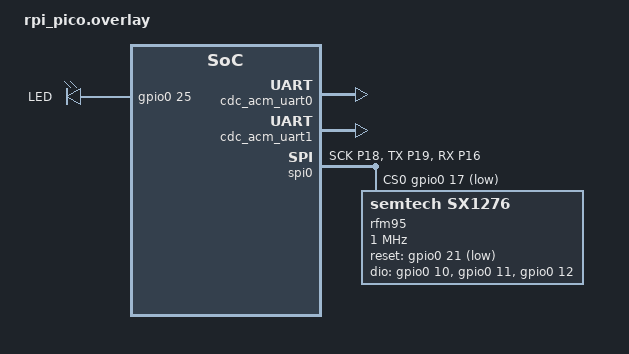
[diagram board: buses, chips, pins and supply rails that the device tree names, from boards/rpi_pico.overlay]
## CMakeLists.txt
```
# SPDX-License-Identifier: Apache-2.0

cmake_minimum_required(VERSION 3.13.1)
find_package(Zephyr REQUIRED HINTS $ENV{ZEPHYR_BASE})

project(catwan_usbstick LANGUAGES C)

set(CATSNIFFER_FW_VERSION "" CACHE STRING "Firmware version label (for releases)")
if(DEFINED ENV{CATSNIFFER_FW_VERSION} AND NOT "$ENV{CATSNIFFER_FW_VERSION}" STREQUAL "")
    set(CATSNIFFER_FW_VERSION "$ENV{CATSNIFFER_FW_VERSION}" CACHE STRING "Firmware version label (for releases)" FORCE)
endif()

find_package(Git QUIET)
set(CATSNIFFER_GIT_SHA "unknown")
set(CATSNIFFER_GIT_DIRTY "unknown")
if(GIT_FOUND)
    execute_process(
        COMMAND ${GIT_EXECUTABLE} -C ${CMAKE_SOURCE_DIR} rev-parse --short HEAD
        OUTPUT_VARIABLE CATSNIFFER_GIT_SHA
        OUTPUT_STRIP_TRAILING_WHITESPACE
        ERROR_QUIET
    )
    execute_process(
        COMMAND ${GIT_EXECUTABLE} -C ${CMAKE_SOURCE_DIR} status --porcelain --untracked-files=no
        OUTPUT_VARIABLE CATSNIFFER_GIT_STATUS
        OUTPUT_STRIP_TRAILING_WHITESPACE
        ERROR_QUIET
    )
    if(CATSNIFFER_GIT_STATUS STREQUAL "")
        set(CATSNIFFER_GIT_DIRTY "clean")
    else()
        set(CATSNIFFER_GIT_DIRTY "dirty")
    endif()
endif()

if(NOT CATSNIFFER_FW_VERSION)
    set(CATSNIFFER_FW_VERSION "dev-${CATSNIFFER_GIT_SHA}-${CATSNIFFER_GIT_DIRTY}")
endif()

string(TIMESTAMP CATSNIFFER_BUILD_TIME_UTC "%Y-%m-%dT%H:%M:%SZ" UTC)
set(CATSNIFFER_COMPILER_ID "${CMAKE_C_COMPILER_ID}")
set(CATSNIFFER_COMPILER_VERSION "${CMAKE_C_COMPILER_VERSION}")

configure_file(
    ${CMAKE_SOURCE_DIR}/include/fw_version.h.in
    ${CMAKE_BINARY_DIR}/generated/fw_version.h
    @ONLY
)

target_include_directories(app PRIVATE ${CMAKE_SOURCE_DIR}/include)
target_include_directories(app PRIVATE ${CMAKE_BINARY_DIR}/generated)

FILE(GLOB app_sources src/*.c)

# Add local usb init
target_sources_ifdef(CONFIG_USB_DEVICE_STACK_NEXT app PRIVATE
    src/USB/usbd_init.c
)

target_sources(app PRIVATE ${app_sources})
```

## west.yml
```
manifest:
  version: "1.2"

  remotes:
    - name: wero1414
      url-base: https://github.com/wero1414

  projects:
    - name: zephyr
      remote: wero1414
      revision: fsk-native-driver
      import: true

  self:
    path: RP2040/catsniffer
```

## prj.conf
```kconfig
# CatWAN USB Stick - Kconfig
# SPDX-License-Identifier: Apache-2.0

# Serial for USB CDC-ACM
CONFIG_SERIAL=y
CONFIG_UART_INTERRUPT_DRIVEN=y

# USB device stack
CONFIG_USB_DEVICE_STACK_NEXT=y
CONFIG_USBD_CDC_ACM_CLASS=y

# SPI and LoRa (RFM95 / SX1276)
CONFIG_SPI=y
CONFIG_GPIO=y
CONFIG_LORA=y
CONFIG_LORA_MODULE_BACKEND_LORAMAC_NODE=y
CONFIG_LORA_SX127X=y

# Persistent storage (for future saved settings)
CONFIG_FLASH=y
CONFIG_FLASH_MAP=y
CONFIG_NVS=y
CONFIG_SETTINGS=y
CONFIG_SETTINGS_NVS=y

# Unique serial number from chip ID
CONFIG_HWINFO=y

# Logging disabled for production
CONFIG_LOG=n
CONFIG_CONSOLE=n
CONFIG_UART_CONSOLE=n
CONFIG_PRINTK=n
CONFIG_USBD_LOG_LEVEL_WRN=n
CONFIG_UDC_DRIVER_LOG_LEVEL_WRN=n
CONFIG_USBD_CDC_ACM_LOG_LEVEL_ERR=n

# USB product strings
CONFIG_SAMPLE_USBD_PID=0xBABB
CONFIG_SAMPLE_USBD_PRODUCT="CatWAN USB Stick"
CONFIG_SAMPLE_USBD_MANUFACTURER="Electronic Cats"
```

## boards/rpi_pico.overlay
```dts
/*
 * CatWAN USB Stick - Device Tree Overlay
 * RP2040 + RFM95W (SX1276) single-radio LoRa USB stick
 *
 * Pin mapping (from schematic):
 *   SPI0: MISO=GPIO16, CS=GPIO17, SCK=GPIO18, MOSI=GPIO19
 *   Radio: RST=GPIO21, DIO0=GPIO10, DIO1=GPIO11, DIO2=GPIO12
 *   LED: GPIO25
 */

/ {
    chosen {
        zephyr,settings-partition = &storage_partition;
    };

    aliases {
        led0 = &led_0;
        lora0 = &rfm95;
    };

    leds {
        compatible = "gpio-leds";
        led_0: led0 {
            gpios = <&gpio0 25 GPIO_ACTIVE_HIGH>;
            label = "LED";
        };
    };
};

&flash0 {
    partitions {
        /delete-node/ partition@100;

        code_partition: partition@100 {
            label = "code-partition";
            reg = <0x100 0x1eff00>;
            read-only;
        };

        storage_partition: partition@1f0000 {
            label = "storage";
            reg = <0x1f0000 0x10000>;
        };
    };
};

&zephyr_udc0 {
    cdc_acm_uart0: cdc_acm_uart0 {
        compatible = "zephyr,cdc-acm-uart";
        label = "CatWAN-LoRa";
    };

    cdc_acm_uart1: cdc_acm_uart1 {
        compatible = "zephyr,cdc-acm-uart";
        label = "CatWAN-Shell";
    };
};

&spi0 {
    status = "okay";
    pinctrl-0 = <&spi0_default>;
    pinctrl-names = "default";
    cs-gpios = <&gpio0 17 GPIO_ACTIVE_LOW>;

    rfm95: sx1276@0 {
        compatible = "semtech,sx1276";
        reg = <0>;
        spi-max-frequency = <1000000>;
        reset-gpios = <&gpio0 21 GPIO_ACTIVE_LOW>;
        dio-gpios = <&gpio0 10 GPIO_ACTIVE_HIGH>,
                    <&gpio0 11 GPIO_ACTIVE_HIGH>,
                    <&gpio0 12 GPIO_ACTIVE_HIGH>;
        power-amplifier-output = "pa-boost";
    };
};

&pinctrl {
    spi0_default: spi0_default {
        group1 {
            pinmux = <SPI0_SCK_P18>, <SPI0_TX_P19>;
        };
        group2 {
            pinmux = <SPI0_RX_P16>;
            input-enable;
        };
    };
};
```

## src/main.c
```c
/*
 * CatWAN USB Stick Firmware
 * RP2040 + RFM95/SX1276 LoRa USB dongle
 * Eduardo Contreras @ Electronic Cats 2026
 */
#include "catwan.h"
#include "shell_commands.h"

LOG_MODULE_REGISTER(catwan_main, LOG_LEVEL_INF);

#define CDC0_NODE DT_NODELABEL(cdc_acm_uart0)
#define CDC1_NODE DT_NODELABEL(cdc_acm_uart1)

// Device definitions
#define CDC0_DEV DEVICE_DT_GET(CDC0_NODE) // LoRa data
#define CDC1_DEV DEVICE_DT_GET(CDC1_NODE) // Shell

// Communication buffers (4 ring buffers: LoRa<->USB, Shell<->USB)
uint8_t ring_lora_to_usb[RING_BUF_SIZE];
uint8_t ring_usb_to_lora[RING_BUF_SIZE];
uint8_t ring_config_to_usb[RING_BUF_SIZE];
uint8_t ring_usb_to_config[RING_BUF_SIZE];

struct ring_buf rb_lora_to_usb;
struct ring_buf rb_usb_to_lora;
struct ring_buf rb_config_to_usb;
struct ring_buf rb_usb_to_config;

// Device references
const struct device *cdc0_dev; // LoRa data port
const struct device *cdc1_dev; // Shell port

// Global state
catwan_t catwan = { 0 };

// GPIO for LED
static const struct gpio_dt_spec led0 = GPIO_DT_SPEC_GET(DT_ALIAS(led0), gpios);

// USB context
static struct usbd_context *catwan_usbd;

static const struct device *lora_dev;

// Thread definitions
#define LORA_THREAD_STACK_SIZE 4096
K_THREAD_STACK_DEFINE(lora_thread_stack, LORA_THREAD_STACK_SIZE);
static struct k_thread lora_thread;
K_SEM_DEFINE(lora_data_sem, 0, 1);
static bool lora_async_rx_active;

// --- Ring buffer helpers ---

static inline uint32_t safe_ring_buf_put(struct ring_buf *rb,
					 const uint8_t *data, uint32_t size)
{
	unsigned int key = irq_lock();
	uint32_t result = ring_buf_put(rb, data, size);
	irq_unlock(key);
	return result;
}

static inline uint32_t safe_ring_buf_get(struct ring_buf *rb, uint8_t *data,
					 uint32_t size)
{
	unsigned int key = irq_lock();
	uint32_t result = ring_buf_get(rb, data, size);
	irq_unlock(key);
	return result;
}

// --- LoRa RX callback ---

void lora_rx_cb(const struct device *dev, uint8_t *data, uint16_t size,
		int16_t rssi, int8_t snr, void *user_data)
{
	ARG_UNUSED(dev);
	ARG_UNUSED(user_data);

	if (catwan.lora_mode == LORA_MODE_STREAM) {
		// Stream mode: length-prefixed binary frame
		// [length:1][payload:N][RSSI+128:1][SNR+128:1]
		uint8_t header = (uint8_t)(size > 255 ? 255 : size);
		safe_ring_buf_put(&rb_lora_to_usb, &header, 1);
		safe_ring_buf_put(&rb_lora_to_usb, data, header);
		uint8_t rssi_byte = (uint8_t)(rssi + 128);
		uint8_t snr_byte = (uint8_t)(snr + 128);
		safe_ring_buf_put(&rb_lora_to_usb, &rssi_byte, 1);
		safe_ring_buf_put(&rb_lora_to_usb, &snr_byte, 1);
	} else {
		// Command mode: text format
		char rx_msg[384];
		char data_str[128] = { 0 };
		int display_len = (size > 40) ? 40 : size;

		for (int i = 0; i < display_len; i++) {
			char byte_str[4];
			snprintf(byte_str, sizeof(byte_str), "%02X", data[i]);
			strcat(data_str, byte_str);
		}
		if (size > 40)
			strcat(data_str, "...");

		snprintf(rx_msg, sizeof(rx_msg),
			 "RX: %s | RSSI: %d | SNR: %d\r\n", data_str, rssi, snr);
		safe_ring_buf_put(&rb_lora_to_usb, (uint8_t *)rx_msg,
				  strlen(rx_msg));
	}

	if (cdc0_dev)
		uart_irq_tx_enable(cdc0_dev);
}

// --- USB callbacks ---

static void catwan_usb_msg_cb(struct usbd_context *const ctx,
			      const struct usbd_msg *msg)
{
	if (usbd_can_detect_vbus(ctx)) {
		if (msg->type == USBD_MSG_VBUS_READY) {
			usbd_enable(ctx);
		} else if (msg->type == USBD_MSG_VBUS_REMOVED) {
			usbd_disable(ctx);
		}
	}
}

static int enable_usb_device_next(void)
{
	catwan_usbd = usbd_init_device(catwan_usb_msg_cb);
	if (catwan_usbd == NULL) {
		return -ENODEV;
	}
	if (!usbd_can_detect_vbus(catwan_usbd)) {
		return usbd_enable(catwan_usbd);
	}
	return 0;
}

// --- CDC0 (LoRa data) interrupt handler ---

static void cdc0_interrupt_handler(const struct device *dev, void *user_data)
{
	while (uart_irq_update(dev) && uart_irq_is_pending(dev)) {
		if (uart_irq_rx_ready(dev)) {
			uint8_t buf[64];
			int len = uart_fifo_read(dev, buf, sizeof(buf));
			if (len > 0) {
				safe_ring_buf_put(&rb_usb_to_lora, buf, len);
				k_sem_give(&lora_data_sem);
			}
		}

		if (uart_irq_tx_ready(dev)) {
			uint8_t buf[64];
			int len = safe_ring_buf_get(&rb_lora_to_usb, buf,
						    sizeof(buf));
			if (len > 0) {
				uart_fifo_fill(dev, buf, len);
			} else {
				uart_irq_tx_disable(dev);
			}
		}
	}
}

// --- CDC1 (Shell) interrupt handler ---

static void cdc1_interrupt_handler(const struct device *dev, void *user_data)
{
	while (uart_irq_update(dev) && uart_irq_is_pending(dev)) {
		if (uart_irq_rx_ready(dev)) {
			uint8_t buf[64];
			int len = uart_fifo_read(dev, buf, sizeof(buf));

			for (int i = 0; i < len; i++) {
				uint8_t data = buf[i];

				// Echo back
				safe_ring_buf_put(&rb_config_to_usb, &data, 1);
				uart_irq_tx_enable(dev);

				// Line buffering
				if (data == '\n' || data == '\r') {
					if (catwan.command_data_len > 0) {
						catwan.command_data
							[catwan.command_data_len] =
							'\0';
						process_command(
							catwan.command_data,
							catwan.command_data_len);
						catwan.command_data_len = 0;
					}
				} else if (catwan.command_data_len <
					   COMMAND_BUF_SIZE - 1) {
					catwan.command_data
						[catwan.command_data_len++] =
						data;
				}
			}
		}

		if (uart_irq_tx_ready(dev)) {
			uint8_t buf[64];
			int len = safe_ring_buf_get(&rb_config_to_usb, buf,
						    sizeof(buf));
			if (len > 0) {
				uart_fifo_fill(dev, buf, len);
			} else {
				uart_irq_tx_disable(dev);
			}
		}
	}
}

// --- Shell helpers (exposed to shell_commands.c) ---

void shell_reply(const char *msg)
{
	if (!msg)
		return;
	safe_ring_buf_put(&rb_config_to_usb, (uint8_t *)msg, strlen(msg));
	if (cdc1_dev)
		uart_irq_tx_enable(cdc1_dev);
}

int queue_radio_command(const char *cmd_line)
{
	uint8_t nl = '\n';
	size_t len;
	uint32_t written;

	if (!cmd_line)
		return -EINVAL;

	len = strlen(cmd_line);
	if (len == 0 || len >= COMMAND_BUF_SIZE)
		return -EINVAL;

	written = safe_ring_buf_put(&rb_usb_to_lora,
				    (const uint8_t *)cmd_line, len);
	if (written != len)
		return -ENOSPC;

	written = safe_ring_buf_put(&rb_usb_to_lora, &nl, 1);
	if (written != 1)
		return -ENOSPC;

	k_sem_give(&lora_data_sem);
	return 0;
}

void set_status_leds(int l0, int l1, int l2)
{
	ARG_UNUSED(l1);
	ARG_UNUSED(l2);
	gpio_pin_set_dt(&led0, l0);
}

// --- LoRa helpers ---

static const char *get_error_string(int error)
{
	switch (error) {
	case 0:
		return "Success";
	case -EAGAIN:
		return "EAGAIN - Resource temporarily unavailable";
	case -EBUSY:
		return "EBUSY - Device busy";
	case -EIO:
		return "EIO - I/O error";
	case -EINVAL:
		return "EINVAL - Invalid argument";
	case -ENODEV:
		return "ENODEV - Device not ready";
	case -ENOTSUP:
		return "ENOTSUP - Operation not supported";
	case -ETIMEDOUT:
		return "ETIMEDOUT - Timeout";
	default:
		return "Unknown error";
	}
}

static void lora_stop_rx(void)
{
	lora_recv_async(lora_dev, NULL, NULL);
	lora_async_rx_active = false;
	k_sleep(K_MSEC(5));
}

static int lora_set_tx_mode(void)
{
	struct lora_modem_config config = { 0 };
	config.frequency = catwan.lora_config.frequency;
	config.bandwidth = catwan.lora_config.bandwidth;
	config.datarate = catwan.lora_config.spreading_factor;
	config.preamble_len = catwan.lora_config.preamble_len;
	config.coding_rate = catwan.lora_config.coding_rate;
	config.tx_power = catwan.lora_config.tx_power;
	config.tx = true;
	config.iq_inverted = catwan.lora_config.iq_inverted;
	config.public_network = catwan.lora_config.public_network;
	return lora_config(lora_dev, &config);
}

static int lora_start_rx_async(void)
{
	if (lora_async_rx_active)
		return 0;

	int ret = lora_recv_async(lora_dev, lora_rx_cb, NULL);
	if (ret == 0) {
		lora_async_rx_active = true;
		return 0;
	}

	if (ret == -EBUSY) {
		lora_recv_async(lora_dev, NULL, NULL);
		k_sleep(K_MSEC(2));
		ret = lora_recv_async(lora_dev, lora_rx_cb, NULL);
		if (ret == 0) {
			lora_async_rx_active = true;
		}
	}
	return ret;
}

// --- LoRa init and config ---

int initialize_lora(void)
{
	const char *status_msg;

	if (catwan.lora_initialized) {
		shell_reply("LoRa: Already initialized\r\n");
		return 0;
	}

	shell_reply("LoRa: Starting initialization...\r\n");

	lora_dev = DEVICE_DT_GET(DT_ALIAS(lora0));
	if (!device_is_ready(lora_dev)) {
		shell_reply("ERROR: LoRa device not ready\r\n");
		return -ENODEV;
	}

	shell_reply("LoRa: Device ready\r\n");

	struct lora_modem_config config = { 0 };
	config.frequency = catwan.lora_config.frequency;
	config.bandwidth = catwan.lora_config.bandwidth;
	config.datarate = catwan.lora_config.spreading_factor;
	config.preamble_len = catwan.lora_config.preamble_len;
	config.coding_rate = catwan.lora_config.coding_rate;
	config.tx_power = catwan.lora_config.tx_power;
	config.tx = false;
	config.iq_inverted = catwan.lora_config.iq_inverted;
	config.public_network = catwan.lora_config.public_network;

	int ret = lora_config(lora_dev, &config);
	if (ret < 0) {
		shell_reply("ERROR: LoRa configuration failed\r\n");
		return ret;
	}

	catwan.lora_initialized = true;
	catwan.lora_config_lock = false;

	ret = lora_start_rx_async();
	if (ret < 0 && ret != -EBUSY) {
		char err_buf[96];
		snprintf(err_buf, sizeof(err_buf),
			 "WARN: LoRa RX start failed (%d: %s)\r\n", ret,
			 get_error_string(ret));
		shell_reply(err_buf);
	}

	shell_reply("LoRa: Initialization completed (RX mode)!\r\n");
	return 0;
}

int apply_lora_config(void)
{
	if (!catwan.lora_initialized) {
		shell_reply("Error: LoRa not initialized. Use TEST command first.\r\n");
		return -ENODEV;
	}

	catwan.lora_config_lock = true;
	k_msleep(50);

	lora_recv_async(lora_dev, NULL, NULL);
	lora_async_rx_active = false;

	shell_reply("Applying LoRa configuration...\r\n");

	struct lora_modem_config config = { 0 };
	config.frequency = catwan.lora_config.frequency;
	config.bandwidth = catwan.lora_config.bandwidth;
	config.datarate = catwan.lora_config.spreading_factor;
	config.preamble_len = catwan.lora_config.preamble_len;
	config.coding_rate = catwan.lora_config.coding_rate;
	config.tx_power = catwan.lora_config.tx_power;
	config.tx = false;
	config.iq_inverted = catwan.lora_config.iq_inverted;
	config.public_network = catwan.lora_config.public_network;

	int ret = lora_config(lora_dev, &config);
	catwan.lora_config_lock = false;

	if (ret < 0) {
		char err_buf[96];
		snprintf(err_buf, sizeof(err_buf),
			 "ERROR: LoRa configuration failed (%d: %s)\r\n", ret,
			 get_error_string(ret));
		shell_reply(err_buf);
		return ret;
	}

	shell_reply("LoRa configuration applied successfully (RX mode)\r\n");

	ret = lora_start_rx_async();
	if (ret < 0 && ret != -EBUSY) {
		char err_buf[96];
		snprintf(err_buf, sizeof(err_buf),
			 "WARN: LoRa RX re-arm failed (%d: %s)\r\n", ret,
			 get_error_string(ret));
		shell_reply(err_buf);
	}

	return 0;
}

// --- LoRa command processing (CDC0 command mode) ---

void process_lora_command(char *cmd_line)
{
	char response[384];

	if (!catwan.lora_initialized) {
		int ret = initialize_lora();
		if (ret < 0)
			return;
	}

	if (strncmp(cmd_line, "TEST", 4) == 0) {
		shell_reply("TEST: LoRa ready!\r\n");
		return;
	}

	if (strncmp(cmd_line, "TXTEST", 6) == 0) {
		if (!catwan.lora_initialized) {
			shell_reply("ERROR: LoRa not initialized\r\n");
			return;
		}

		uint8_t tx_data[] = "PING";
		shell_reply("Sending PING packet...\r\n");

		lora_stop_rx();
		lora_set_tx_mode();
		int ret = lora_send(lora_dev, tx_data, sizeof(tx_data));
		lora_start_rx_async();

		snprintf(response, sizeof(response), "TX Result: %d (%s)\r\n",
			 ret, get_error_string(ret));
		shell_reply(response);
		return;
	}

	if (strncmp(cmd_line, "TX ", 3) == 0) {
		if (!catwan.lora_initialized) {
			shell_reply("ERROR: LoRa not initialized\r\n");
			return;
		}

		char *hex_data = &cmd_line[3];
		uint8_t tx_data[128];
		size_t hex_len = strlen(hex_data);

		if (hex_len % 2 == 0 && hex_len > 0) {
			size_t data_len = hex_len / 2;

			for (size_t i = 0; i < data_len; i++) {
				char hex_byte[3] = { hex_data[i * 2],
						     hex_data[i * 2 + 1],
						     '\0' };
				tx_data[i] =
					(uint8_t)strtoul(hex_byte, NULL, 16);
			}

			lora_stop_rx();
			lora_set_tx_mode();
			int ret = lora_send(lora_dev, tx_data, data_len);
			lora_start_rx_async();

			snprintf(response, sizeof(response),
				 "TX Result: %d (%s)\r\n", ret,
				 get_error_string(ret));
		} else {
			snprintf(response, sizeof(response),
				 "ERROR: Invalid hex data\r\n");
		}

		shell_reply(response);
		return;
	}

	shell_reply("Available: TEST, TXTEST, TX <hex>\r\n");
}

// --- LoRa thread ---

static void lora_thread_func(void *p1, void *p2, void *p3)
{
	char command_buffer[128];
	size_t cmd_len = 0;

	while (1) {
		(void)k_sem_take(&lora_data_sem, K_MSEC(100));

		if (catwan.lora_config_lock) {
			k_msleep(10);
			continue;
		}

		lora_start_rx_async();

		if (catwan.lora_mode == LORA_MODE_COMMAND) {
			// Command mode: parse text commands from CDC0
			uint8_t usb_buf[64];
			int usb_len = safe_ring_buf_get(&rb_usb_to_lora,
							usb_buf, sizeof(usb_buf));

			if (usb_len > 0) {
				for (int i = 0; i < usb_len; i++) {
					char c = usb_buf[i];
					if (c == '\n' || c == '\r') {
						if (cmd_len > 0) {
							command_buffer[cmd_len] = '\0';
							process_lora_command(
								command_buffer);
							cmd_len = 0;
						}
					} else if (cmd_len <
						   sizeof(command_buffer) - 1) {
						command_buffer[cmd_len++] = c;
					}
				}
			}
		} else {
			// Stream mode: raw binary TX/RX
			uint8_t tx_buffer[255];
			int tx_len = safe_ring_buf_get(&rb_usb_to_lora,
						       tx_buffer, sizeof(tx_buffer));

			if (tx_len > 0 && catwan.lora_initialized) {
				lora_stop_rx();
				lora_set_tx_mode();
				lora_send(lora_dev, tx_buffer, tx_len);
				lora_start_rx_async();
			}
		}
	}
}

// --- Main ---

int main(void)
{
	int ret;

	// Get device references
	cdc0_dev = CDC0_DEV;
	cdc1_dev = CDC1_DEV;

	// Initialize LED
	if (!device_is_ready(led0.port)) {
		return -ENODEV;
	}
	gpio_pin_configure_dt(&led0, GPIO_OUTPUT);
	gpio_pin_set_dt(&led0, 0);

	// Initialize LoRa configuration defaults
	catwan.led_interval = 1000;
	catwan.lora_mode = LORA_MODE_STREAM;
	catwan.lora_config.frequency = 915000000;
	catwan.lora_config.spreading_factor = SF_7;
	catwan.lora_config.bandwidth = BW_125_KHZ;
	catwan.lora_config.coding_rate = CR_4_5;
	catwan.lora_config.tx_power = 17;
	catwan.lora_config.preamble_len = 12;
	catwan.lora_config.iq_inverted = false;
	catwan.lora_config.public_network = false;
	catwan.lora_config.config_pending = false;
	catwan.lora_initialized = false;
	catwan.lora_config_lock = false;

	// Initialize USB
	ret = enable_usb_device_next();
	if (ret < 0) {
		return ret;
	}
	gpio_pin_set_dt(&led0, 1);

	// Initialize ring buffers
	ring_buf_init(&rb_lora_to_usb, sizeof(ring_lora_to_usb),
		      ring_lora_to_usb);
	ring_buf_init(&rb_usb_to_lora, sizeof(ring_usb_to_lora),
		      ring_usb_to_lora);
	ring_buf_init(&rb_config_to_usb, sizeof(ring_config_to_usb),
		      ring_config_to_usb);
	ring_buf_init(&rb_usb_to_config, sizeof(ring_usb_to_config),
		      ring_usb_to_config);

	// Set up CDC interrupt handlers
	uart_irq_callback_set(cdc0_dev, cdc0_interrupt_handler);
	uart_irq_rx_enable(cdc0_dev);

	if (cdc1_dev) {
		uart_irq_callback_set(cdc1_dev, cdc1_interrupt_handler);
		uart_irq_rx_enable(cdc1_dev);
	}

	gpio_pin_set_dt(&led0, 0);

	// Wait for USB to be ready, then send startup messages
	k_msleep(1000);

	char startup_msg[200];
	snprintf(startup_msg, sizeof(startup_msg),
		 "CatWAN USB Stick [%s] - Shell\r\n", CATSNIFFER_FW_VERSION);
	shell_reply(startup_msg);

	const char *lora_welcome = "CatWAN LoRa Data Port\r\n";
	safe_ring_buf_put(&rb_lora_to_usb, (uint8_t *)lora_welcome,
			  strlen(lora_welcome));
	uart_irq_tx_enable(cdc0_dev);

	// Initialize LoRa
	ret = initialize_lora();
	if (ret < 0) {
		shell_reply("LoRa initialization failed\r\n");
	}

	// Start LoRa thread
	k_thread_create(&lora_thread, lora_thread_stack, LORA_THREAD_STACK_SIZE,
			lora_thread_func, NULL, NULL, NULL,
			LORA_THREAD_PRIORITY, 0, K_NO_WAIT);

	// Main loop: LED blink
	while (1) {
		if (catwan.led_identify) {
			k_msleep(10);
			continue;
		}

		int64_t current_time = k_uptime_get();
		if (current_time - catwan.previous_millis > catwan.led_interval) {
			catwan.previous_millis = current_time;
			gpio_pin_toggle_dt(&led0);
		}

		k_msleep(10);
	}

	return 0;
}
```

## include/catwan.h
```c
/*
 * CatWAN USB Stick — Main Header
 * RP2040 + RFM95/SX1276 LoRa USB dongle
 * Eduardo Contreras @ Electronic Cats 2026
 */

#ifndef CATWAN_H
#define CATWAN_H

#include <zephyr/kernel.h>
#include <zephyr/device.h>
#include <zephyr/drivers/gpio.h>
#include <catsniffer_usbd.h>
#include <zephyr/drivers/uart.h>
#include <zephyr/sys/ring_buffer.h>
#include <zephyr/usb/usbd.h>
#include <zephyr/drivers/spi.h>
#include <zephyr/drivers/lora.h>
#include <zephyr/logging/log.h>
#include <zephyr/sys/util.h>
#include <string.h>
#include <stdlib.h>
#include <fw_version.h>

// Ring buffer and command buffer sizes
#define RING_BUF_SIZE 16384
#define COMMAND_BUF_SIZE 256

// Thread priorities
#define LORA_THREAD_PRIORITY K_PRIO_COOP(5)
#define MAIN_THREAD_PRIORITY K_PRIO_COOP(7)

// LoRa mode definitions
enum LORA_MODE {
	LORA_MODE_STREAM = 0,  // Default: raw binary on CDC0
	LORA_MODE_COMMAND = 1, // Text commands on CDC0
};

// LoRa configuration structure (staged — apply with apply_lora_config())
typedef struct {
	uint32_t frequency;		      // Hz (default: 915000000)
	uint8_t spreading_factor;	      // SF7–SF12 (default: SF7)
	enum lora_signal_bandwidth bandwidth; // BW_125_KHZ, BW_250_KHZ, BW_500_KHZ
	uint8_t coding_rate;		      // CR_4_5 .. CR_4_8 (default: CR_4_5)
	int8_t tx_power;		      // +2 to +17 dBm for RFM95 PA_BOOST (default: 17)
	uint16_t preamble_len;		      // Default: 12
	bool iq_inverted;		      // IQ inversion (default: false/normal)
	bool public_network;		      // Sync word: false=private (0x12), true=public (0x34)
	bool config_pending;		      // true if changes not yet applied
} lora_config_t;

// CatWAN state structure
typedef struct {
	unsigned long led_interval;
	int64_t previous_millis;
	// Shell command parsing
	bool command_recognized;
	uint8_t command_counter;
	char command_data[COMMAND_BUF_SIZE];
	size_t command_data_len;
	// LoRa state
	uint8_t lora_mode;	   // LORA_MODE_STREAM or LORA_MODE_COMMAND
	lora_config_t lora_config; // Current LoRa configuration
	bool lora_initialized;	   // Track initialization state
	bool lora_config_lock;	   // Lock flag to pause LoRa operations during reconfiguration
	// Identify state
	bool led_identify;	   // true while identify LED blink sequence is active
} catwan_t;

// Global state
extern catwan_t catwan;

// Function prototypes
void process_lora_command(char *cmd_line);
int queue_radio_command(const char *cmd_line);
int apply_lora_config(void);

#endif /* CATWAN_H */
```

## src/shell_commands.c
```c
/*
 * shell_commands.c - Command Table Based Shell
 * CatWAN USB Stick — LoRa-only (SX1276/RFM95)
 */

#include "shell_commands.h"
#include <errno.h>
#include <string.h>
#include <stdio.h>
#include <stdlib.h>
#include <zephyr/kernel.h>
#include <pico/bootrom.h>

#include "catwan.h"

// External functions from main.c
void shell_reply(const char *msg);
void set_status_leds(int l0, int l1, int l2);

// Command handler type
typedef void (*cmd_handler_t)(char *args);

// Command table entry
typedef struct {
	const char *name;
	cmd_handler_t handler;
	const char *help;
	bool prefix_match; // true for commands with args
} shell_cmd_t;

// Forward declarations
static void cmd_help(char *args);
static void cmd_reboot(char *args);
static void cmd_status(char *args);
static void cmd_fw_version(char *args);
static void cmd_lora_freq(char *args);
static void cmd_lora_sf(char *args);
static void cmd_lora_bw(char *args);
static void cmd_lora_cr(char *args);
static void cmd_lora_power(char *args);
static void cmd_lora_mode(char *args);
static void cmd_lora_preamble(char *args);
static void cmd_lora_syncword(char *args);
static void cmd_lora_iq(char *args);
static void cmd_lora_config(char *args);
static void cmd_lora_apply(char *args);
static void cmd_radio(char *args);
static void cmd_identify(char *args);

// Command table
static const shell_cmd_t commands[] = {
	{ "help", cmd_help, "Show available commands", false },
	{ "reboot", cmd_reboot, "RP2040 USB bootloader", false },
	{ "status", cmd_status, "Device status", false },
	{ "fw_version", cmd_fw_version, "Show firmware build version", false },
	{ "lora_freq", cmd_lora_freq, "Set frequency (Hz)", true },
	{ "lora_sf", cmd_lora_sf, "Set spreading factor", true },
	{ "lora_bw", cmd_lora_bw, "Set bandwidth (kHz)", true },
	{ "lora_cr", cmd_lora_cr, "Set coding rate", true },
	{ "lora_power", cmd_lora_power, "Set TX power (dBm)", true },
	{ "lora_mode", cmd_lora_mode, "stream|command mode", true },
	{ "lora_preamble", cmd_lora_preamble, "Set preamble length", true },
	{ "lora_syncword", cmd_lora_syncword, "Set sync word (private|public)",
	  true },
	{ "lora_iq", cmd_lora_iq, "normal|inverted IQ", true },
	{ "lora_config", cmd_lora_config, "Show LoRa config", false },
	{ "lora_apply", cmd_lora_apply, "Apply pending config", false },
	{ "identify", cmd_identify, "Blink board LED for identification", false },
	{ "radio", cmd_radio, "Forward radio cmd (TEST|TX)", true },
	{ NULL, NULL, NULL, false }
};

// Command implementations

static void cmd_help(char *args)
{
	shell_reply("Commands:\r\n");
	for (const shell_cmd_t *cmd = commands; cmd->name != NULL; cmd++) {
		char buf[80];
		snprintf(buf, sizeof(buf), "  %-14s - %s\r\n", cmd->name,
			 cmd->help);
		shell_reply(buf);
	}
}

static void cmd_reboot(char *args)
{
	shell_reply("Entering USB bootloader...\r\n");
	k_msleep(100);
	reset_usb_boot(0, 0);
}

static void cmd_status(char *args)
{
	char buf[320];
	const char *mode_str = (catwan.lora_mode == LORA_MODE_STREAM) ?
				       "Stream" :
				       "Command";
	const char *lora_status =
		catwan.lora_initialized ? "initialized" : "not initialized";
	snprintf(buf, sizeof(buf),
		 "Board: CatWAN USB Stick\r\n"
		 "Radio: SX1276/RFM95\r\n"
		 "LoRa: %s\r\n"
		 "LoRa Mode: %s\r\n"
		 "Frequency: %u Hz\r\n"
		 "FW: %s\r\n",
		 lora_status, mode_str,
		 catwan.lora_config.frequency, CATSNIFFER_FW_VERSION);
	shell_reply(buf);
}

static void cmd_fw_version(char *args)
{
	char buf[320];
	snprintf(buf, sizeof(buf),
		 "FW: %s\r\nGit: %s (%s)\r\nBuilt: %s\r\nCompiler: %s %s\r\n",
		 CATSNIFFER_FW_VERSION, CATSNIFFER_GIT_SHA,
		 CATSNIFFER_GIT_DIRTY, CATSNIFFER_BUILD_TIME_UTC,
		 CATSNIFFER_COMPILER_ID, CATSNIFFER_COMPILER_VERSION);
	shell_reply(buf);
}

#define IDENTIFY_BLINK_STEPS 20 /* 10 on + 10 off = 10 full blinks */
#define IDENTIFY_BLINK_MS 100

static int identify_steps_remaining;

static void identify_timer_expiry(struct k_timer *timer)
{
	if (identify_steps_remaining <= 0) {
		k_timer_stop(timer);
		set_status_leds(0, 0, 0);
		catwan.led_identify = false;
		return;
	}
	int on = (identify_steps_remaining % 2 == 0);
	set_status_leds(on, on, on);
	identify_steps_remaining--;
}

K_TIMER_DEFINE(identify_timer, identify_timer_expiry, NULL);

static void cmd_identify(char *args)
{
	k_timer_stop(&identify_timer);
	catwan.led_identify = true;
	identify_steps_remaining = IDENTIFY_BLINK_STEPS;
	shell_reply("Identifying board...\r\n");
	k_timer_start(&identify_timer, K_MSEC(IDENTIFY_BLINK_MS),
		      K_MSEC(IDENTIFY_BLINK_MS));
}

static void cmd_lora_freq(char *args)
{
	while (*args && *args != ' ')
		args++;
	while (*args == ' ')
		args++;

	if (*args == '\0') {
		shell_reply("Usage: lora_freq <Hz>\r\n");
		return;
	}

	uint32_t freq = (uint32_t)atoi(args);
	if (freq < 137000000 || freq > 1020000000) {
		shell_reply("Error: Frequency must be 137-1020 MHz\r\n");
		return;
	}

	catwan.lora_config.frequency = freq;
	catwan.lora_config.config_pending = true;

	char buf[64];
	snprintf(buf, sizeof(buf), "Frequency set to %u Hz (pending)\r\n",
		 freq);
	shell_reply(buf);
}

static void cmd_lora_sf(char *args)
{
	while (*args && *args != ' ')
		args++;
	while (*args == ' ')
		args++;

	if (*args == '\0') {
		shell_reply("Usage: lora_sf <7-12>\r\n");
		return;
	}

	int sf = atoi(args);
	if (sf < 7 || sf > 12) {
		shell_reply("Error: Spreading factor must be 7-12\r\n");
		return;
	}

	catwan.lora_config.spreading_factor = (uint8_t)sf;
	catwan.lora_config.config_pending = true;

	char buf[64];
	snprintf(buf, sizeof(buf), "Spreading Factor set to SF%d (pending)\r\n",
		 sf);
	shell_reply(buf);
}

static void cmd_lora_bw(char *args)
{
	while (*args && *args != ' ')
		args++;
	while (*args == ' ')
		args++;

	if (*args == '\0') {
		shell_reply("Usage: lora_bw <125|250|500>\r\n");
		return;
	}

	int bw = atoi(args);
	enum lora_signal_bandwidth bw_enum;

	switch (bw) {
	case 125:
		bw_enum = BW_125_KHZ;
		break;
	case 250:
		bw_enum = BW_250_KHZ;
		break;
	case 500:
		bw_enum = BW_500_KHZ;
		break;
	default:
		shell_reply("Error: Bandwidth must be 125, 250, or 500 "
			    "kHz\r\n");
		return;
	}

	catwan.lora_config.bandwidth = bw_enum;
	catwan.lora_config.config_pending = true;

	char buf[64];
	snprintf(buf, sizeof(buf), "Bandwidth set to %d kHz (pending)\r\n", bw);
	shell_reply(buf);
}

static void cmd_lora_cr(char *args)
{
	while (*args && *args != ' ')
		args++;
	while (*args == ' ')
		args++;

	if (*args == '\0') {
		shell_reply("Usage: lora_cr <5|6|7|8>\r\n");
		return;
	}

	int cr = atoi(args);
	uint8_t cr_enum;

	switch (cr) {
	case 5:
		cr_enum = CR_4_5;
		break;
	case 6:
		cr_enum = CR_4_6;
		break;
	case 7:
		cr_enum = CR_4_7;
		break;
	case 8:
		cr_enum = CR_4_8;
		break;
	default:
		shell_reply("Error: Coding rate must be 5, 6, 7, or 8 (for "
			    "4/5, 4/6, 4/7, 4/8)\r\n");
		return;
	}

	catwan.lora_config.coding_rate = cr_enum;
	catwan.lora_config.config_pending = true;

	char buf[64];
	snprintf(buf, sizeof(buf), "Coding Rate set to 4/%d (pending)\r\n", cr);
	shell_reply(buf);
}

static void cmd_lora_power(char *args)
{
	while (*args && *args != ' ')
		args++;
	while (*args == ' ')
		args++;

	if (*args == '\0') {
		shell_reply("Usage: lora_power <2 to 17>\r\n");
		return;
	}

	int power = atoi(args);
	if (power < 2 || power > 17) {
		shell_reply("Error: TX power must be 2 to 17 dBm "
			    "(RFM95 PA_BOOST)\r\n");
		return;
	}

	catwan.lora_config.tx_power = (int8_t)power;
	catwan.lora_config.config_pending = true;

	char buf[64];
	snprintf(buf, sizeof(buf), "TX Power set to %d dBm (pending)\r\n",
		 power);
	shell_reply(buf);
}

static void cmd_lora_mode(char *args)
{
	while (*args && *args != ' ')
		args++;
	while (*args == ' ')
		args++;

	if (*args == '\0') {
		shell_reply("Usage: lora_mode <stream|command>\r\n");
		return;
	}

	if (strncmp(args, "stream", 6) == 0) {
		catwan.lora_mode = LORA_MODE_STREAM;
		catwan.led_interval = 1000;
		shell_reply("LoRa mode set to STREAM (slow blink)\r\n");
	} else if (strncmp(args, "command", 7) == 0) {
		catwan.lora_mode = LORA_MODE_COMMAND;
		catwan.led_interval = 200;
		shell_reply("LoRa mode set to COMMAND (fast blink)\r\n");
	} else {
		shell_reply("Error: Mode must be 'stream' or 'command'\r\n");
	}
}

static void cmd_lora_preamble(char *args)
{
	while (*args && *args != ' ')
		args++;
	while (*args == ' ')
		args++;

	if (*args == '\0') {
		shell_reply("Usage: lora_preamble <6-65535>\r\n");
		return;
	}

	int preamble = atoi(args);
	if (preamble < 6 || preamble > 65535) {
		shell_reply("Error: Preamble length must be 6-65535\r\n");
		return;
	}

	catwan.lora_config.preamble_len = (uint16_t)preamble;
	catwan.lora_config.config_pending = true;

	char buf[64];
	snprintf(buf, sizeof(buf), "Preamble length set to %d (pending)\r\n",
		 preamble);
	shell_reply(buf);
}

static void cmd_lora_syncword(char *args)
{
	while (*args && *args != ' ')
		args++;
	while (*args == ' ')
		args++;

	if (*args == '\0') {
		shell_reply("Usage: lora_syncword <private|public>\r\n");
		shell_reply("  private  Private network sync word (0x12)\r\n");
		shell_reply("  public   Public/LoRaWAN sync word (0x34)\r\n");
		return;
	}

	if (strncmp(args, "private", 7) == 0) {
		catwan.lora_config.public_network = false;
		catwan.lora_config.config_pending = true;
		shell_reply("Sync word: PRIVATE (0x12) (pending)\r\n");
	} else if (strncmp(args, "public", 6) == 0) {
		catwan.lora_config.public_network = true;
		catwan.lora_config.config_pending = true;
		shell_reply("Sync word: PUBLIC/LoRaWAN (0x34) (pending)\r\n");
	} else {
		shell_reply("Error: Use 'private' or 'public'\r\n");
	}
}

static void cmd_lora_iq(char *args)
{
	while (*args && *args != ' ')
		args++;
	while (*args == ' ')
		args++;

	if (*args == '\0') {
		shell_reply("Usage: lora_iq <normal|inverted>\r\n");
		return;
	}

	if (strncmp(args, "normal", 6) == 0) {
		catwan.lora_config.iq_inverted = false;
		catwan.lora_config.config_pending = true;
		shell_reply("IQ set to NORMAL (pending)\r\n");
	} else if (strncmp(args, "inverted", 8) == 0) {
		catwan.lora_config.iq_inverted = true;
		catwan.lora_config.config_pending = true;
		shell_reply("IQ set to INVERTED (pending)\r\n");
	} else {
		shell_reply("Error: Must be 'normal' or 'inverted'\r\n");
	}
}

static void cmd_lora_config(char *args)
{
	char buf[512];
	const char *mode_str = (catwan.lora_mode == LORA_MODE_STREAM) ?
				       "Stream" :
				       "Command";
	const char *pending_str =
		catwan.lora_config.config_pending ? " (pending apply)" : "";
	const char *iq_str = catwan.lora_config.iq_inverted ? "Inverted" :
							      "Normal";
	const char *syncword_str = catwan.lora_config.public_network ?
					   "Public (0x34)" :
					   "Private (0x12)";

	snprintf(buf, sizeof(buf),
		 "LoRa Configuration:%s\r\n"
		 "  Frequency: %u Hz\r\n"
		 "  Spreading Factor: SF%d\r\n"
		 "  Bandwidth: %s kHz\r\n"
		 "  Coding Rate: 4/%d\r\n"
		 "  TX Power: %d dBm\r\n"
		 "  Preamble Length: %d\r\n"
		 "  IQ: %s\r\n"
		 "  Sync Word: %s\r\n"
		 "  Mode: %s\r\n",
		 pending_str, catwan.lora_config.frequency,
		 catwan.lora_config.spreading_factor,
		 (catwan.lora_config.bandwidth == BW_125_KHZ) ? "125" :
		 (catwan.lora_config.bandwidth == BW_250_KHZ) ? "250" :
								"500",
		 (catwan.lora_config.coding_rate == CR_4_5) ? 5 :
		 (catwan.lora_config.coding_rate == CR_4_6) ? 6 :
		 (catwan.lora_config.coding_rate == CR_4_7) ? 7 :
							      8,
		 catwan.lora_config.tx_power,
		 catwan.lora_config.preamble_len, iq_str, syncword_str,
		 mode_str);
	shell_reply(buf);
}

static void cmd_lora_apply(char *args)
{
	if (!catwan.lora_config.config_pending) {
		shell_reply("No pending configuration changes\r\n");
		return;
	}

	int ret = apply_lora_config();
	if (ret < 0) {
		char buf[64];
		snprintf(buf, sizeof(buf),
			 "Error applying configuration: %d\r\n", ret);
		shell_reply(buf);
	} else {
		catwan.lora_config.config_pending = false;
		shell_reply("LoRa configuration applied successfully\r\n");
	}
}

static void cmd_radio(char *args)
{
	char forwarded[128];
	int ret;

	while (*args && *args != ' ')
		args++;
	while (*args == ' ')
		args++;

	if (*args == '\0') {
		shell_reply("Usage: radio <TEST|TX HEX>\r\n");
		return;
	}

	snprintf(forwarded, sizeof(forwarded), "%s", args);
	ret = queue_radio_command(forwarded);
	if (ret < 0) {
		shell_reply("ERROR: Failed to queue radio command\r\n");
	}
}

// Main command processor
void process_command(char *cmd, size_t len)
{
	if (len == 0)
		return;

	for (const shell_cmd_t *entry = commands; entry->name != NULL;
	     entry++) {
		if (entry->prefix_match) {
			size_t name_len = strlen(entry->name);
			if (strncmp(cmd, entry->name, name_len) == 0) {
				entry->handler(cmd);
				return;
			}
		} else {
			if (strcmp(cmd, entry->name) == 0) {
				entry->handler(cmd);
				return;
			}
		}
	}

	shell_reply("Unknown command. Type 'help'\r\n");
}
```
